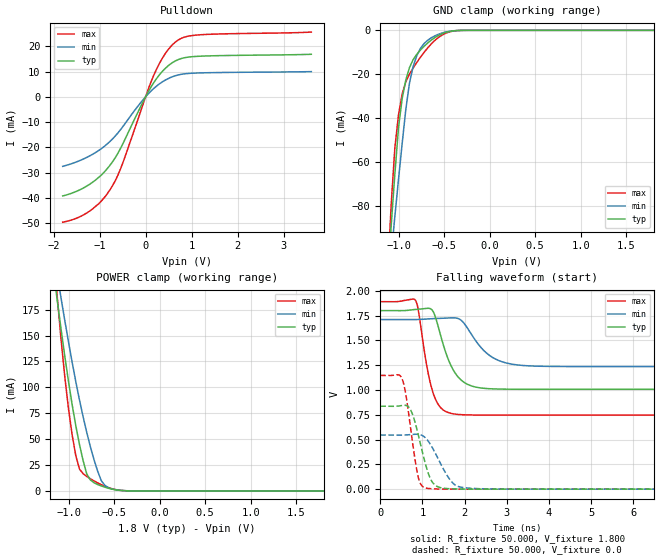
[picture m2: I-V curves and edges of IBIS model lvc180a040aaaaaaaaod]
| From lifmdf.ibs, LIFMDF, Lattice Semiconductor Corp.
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|   Model lvc180a040aaaaaaaaod
[Model] lvc180a040aaaaaaaaod
Model_type I/O_open_drain
Polarity   Non-Inverting
Enable   Active-Low
Vinl =  0.630V
Vinh =  1.170V
Vmeas =  0.900V
Cref =  0.0F
Rref =  1.000M
Vref =  0.0V
C_comp   5.000pF   4.000pF   5.500pF
[Temperature Range]   25.000   0.125k   -40.000
[Voltage Range]   1.800V   1.710V   1.890V
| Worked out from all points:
|   slope of the pulldown table from 0 to 0.27 V, typ, clamps not added: 33.9 ohm
|   GND clamp passes 1 mA (typ) near -0.48 V on its own axis
|   POWER clamp passes 1 mA (typ) near -0.48 V on its own axis
|   falling waveform, R_fixture 50.000, V_fixture 1.800: 20-80 % time 412ps typ, 573ps min, 296ps max; typ from 1.8 V to 1.01 V
|   falling waveform, R_fixture 50.000, V_fixture 0.0: 20-80 % time 305ps typ, 420ps min, 231ps max; typ from 0.836 V to 0 V
[Pulldown]
|Voltage   I(typ)   I(min)   I(max)
-1.8V     -39.21mA   -27.5mA    -49.58mA
-1.26V    -35.1mA    -23.79mA   -45.73mA
-1.02V    -31.88mA   -21.25mA   -42.36mA
-780mV    -27.23mA   -17.76mA   -36.96mA
-540mV    -20.24mA   -12.9mA    -28.33mA
-120mV    -4.361mA   -2.624mA   -6.449mA
180mV     5.683mA    3.341mA    8.607mA
420mV     11.11mA    6.532mA    16.87mA
660mV     14.32mA    8.419mA    21.84mA
840mV     15.44mA    9.082mA    23.58mA
1.2V      16.08mA    9.469mA    24.56mA
3.6V      16.83mA    9.972mA    25.6mA
[GND_clamp]
|Voltage   I(typ)   I(min)   I(max)
-1.8V     -588.7mA   -460.3mA   -776.6mA
-1.12V    -113.2mA   -120.2mA   -111.9mA
-1.08V    -88.74mA   -102.2mA   -79.17mA
-1.04V    -65.4mA    -84.73mA   -53.47mA
-1V       -44.35mA   -67.81mA   -38.46mA
-960mV    -31.12mA   -51.57mA   -29.01mA
-920mV    -22.62mA   -36.09mA   -23.42mA
-880mV    -17mA      -24.08mA   -19.92mA
-800mV    -10.94mA   -11.58mA   -14.64mA
-640mV    -4.44mA    -3.389mA   -6.157mA
-360mV    -108.5uA   -102uA     -131.2uA
1.8V      0A         0A         0A
[POWER_clamp]
|Voltage   I(typ)   I(min)   I(max)
-1.8V     714mA      632.1mA    1.122A
-1.16V    209.1mA    229.4mA    225.8mA
-1.12V    181.6mA    207.1mA    183.6mA
-1.08V    155.1mA    185.3mA    144.6mA
-1V       105.6mA    143.8mA    79.25mA
-920mV    62.93mA    105.5mA    33.98mA
-880mV    44.97mA    88.06mA    21.16mA
-800mV    16.41mA    56.47mA    14.05mA
-720mV    7.909mA    30.12mA    9.679mA
-640mV    4.764mA    9.804mA    6.006mA
-480mV    1.023mA    1.146mA    1.242mA
1.8V      0A         0A         0A
[Ramp]
| variable   typ   min   max
dV/dt_r   0.502/0.398n   0.327/0.588n   0.688/0.275n
dV/dt_f   0.476/0.412n   0.285/0.578n   0.686/0.301n
R_load = 50.000
[Falling Waveform]
R_fixture= 50.000
V_fixture= 1.800
V_fixture_min= 1.710
V_fixture_max= 1.890
|time   V(typ)   V(min)   V(max)
0s        1.8V       1.71V      1.89V
832ps     1.812V     1.71V      1.905V
1.243ns   1.798V     1.719V     983.2mV
1.423ns   1.562V     1.722V     826.1mV
1.663ns   1.258V     1.727V     765.5mV
1.903ns   1.106V     1.707V     751.6mV
2.143ns   1.044V     1.573V     748mV
2.612ns   1.012V     1.342V     746.8mV
3.242ns   1.007V     1.253V     746.7mV
10ns      1.007V     1.236V     746.7mV
[Falling Waveform]
R_fixture= 50.000
V_fixture= 0.0
V_fixture_min= 0.0
V_fixture_max= 0.0
|time   V(typ)   V(min)   V(max)
0s        835.9mV    545.6mV    1.147V
522ps     843.8mV    545.3mV    1.106V
602ps     844.8mV    546.6mV    964mV
722ps     796.7mV    550.2mV    605.5mV
892ps     563.3mV    553.3mV    136.9mV
1.082ns   237.4mV    512.3mV    11.2mV
1.333ns   30.97mV    339.4mV    1.971mV
1.693ns   3.658mV    74.06mV    196.9uV
1.973ns   1.052mV    16.19mV    32.28uV
10ns      0V         0V         0V
